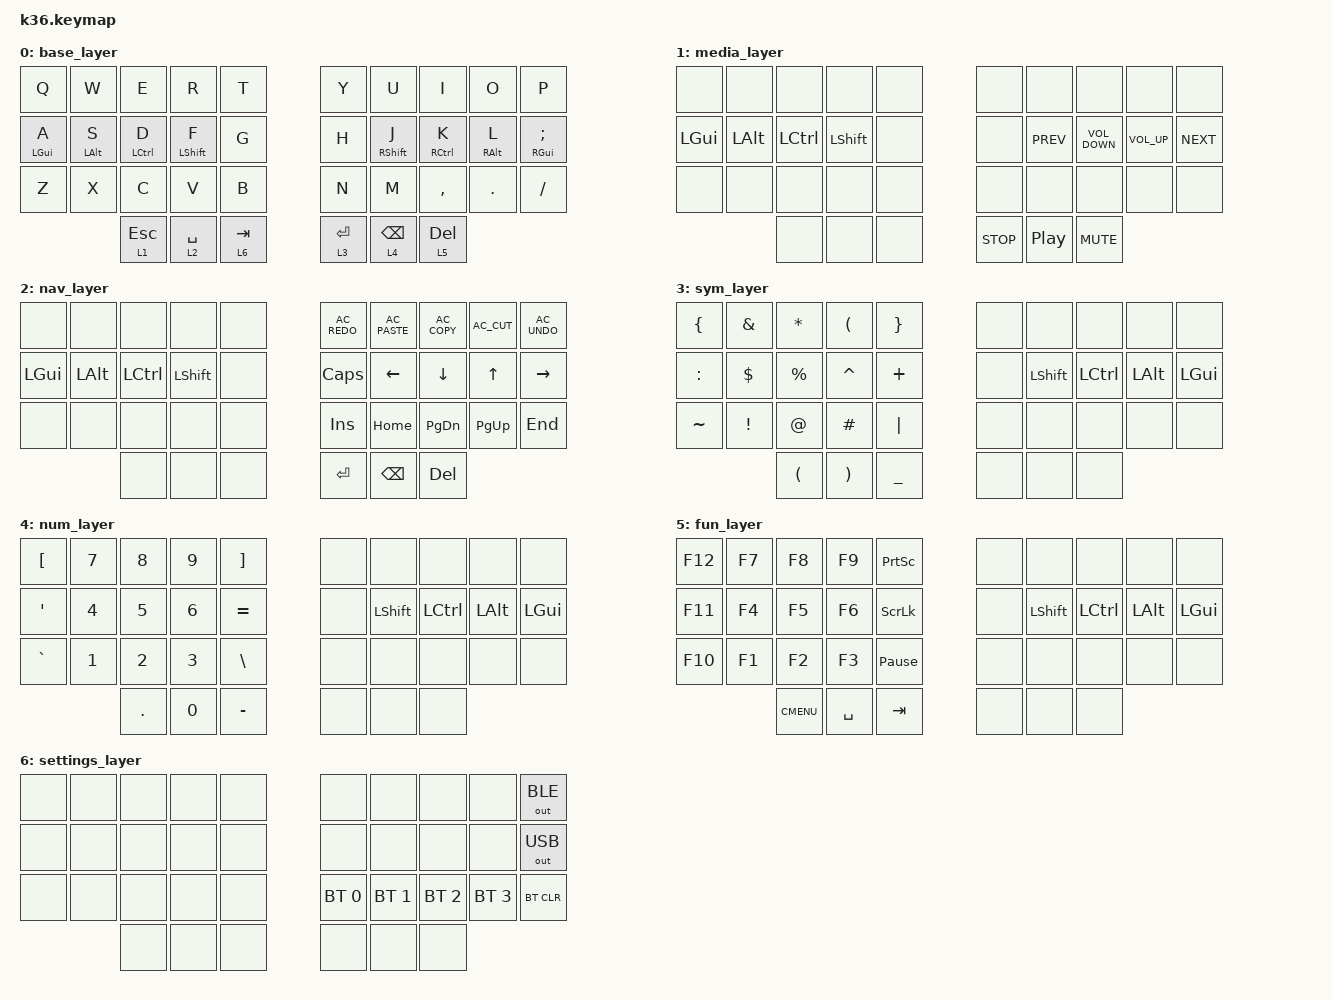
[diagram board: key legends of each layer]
#include <behaviors.dtsi>
#include <dt-bindings/zmk/bt.h>
#include <dt-bindings/zmk/keys.h>
#include <dt-bindings/zmk/outputs.h>

#include "keypos_36keys.h"         

#define DEFAULT 0
#define MEDIA 1
#define NAV 2
#define MOUSE 3
#define SYM 4
#define NUM 5
#define FUN 6

// key-position labels
#define KEYS_L LT0 LT1 LT2 LT3 LT4 LM0 LM1 LM2 LM3 LM4 LB0 LB1 LB2 LB3 LB4  // left-hand keys
#define KEYS_R RT0 RT1 RT2 RT3 RT4 RM0 RM1 RM2 RM3 RM4 RB0 RB1 RB2 RB3 RB4  // right-hand keys
#define THUMBS LH2 LH1 LH0 RH0 RH1 RH2                                      // thumb keys

/ {
    behaviors {
        hml: homerow_mods_left {
            compatible = "zmk,behavior-hold-tap";
            flavor = "balanced"; 
            tapping-term-ms = <280>;
            quick-tap-ms = <175>;
						require-prior-idle-ms = <150>;
            bindings = <&kp>, <&kp>;
            #binding-cells = <2>;
						hold-trigger-key-positions = <KEYS_R THUMBS>;
    				hold-trigger-on-release;             // delay positional check until key-release
        };
				hmr: homerow_mods_right {
            compatible = "zmk,behavior-hold-tap";
            flavor = "balanced"; 
            tapping-term-ms = <280>;
            quick-tap-ms = <175>;
						require-prior-idle-ms = <150>;
            bindings = <&kp>, <&kp>;
            #binding-cells = <2>;
						hold-trigger-key-positions = <KEYS_L THUMBS>;
    				hold-trigger-on-release;      
        };
    };

    keymap {
        compatible = "zmk,keymap";

        base_layer {
            bindings = <
  &kp Q       &kp W       &kp E        &kp R        &kp T          &kp Y      &kp U        &kp I        &kp O       &kp P
  &hml LGUI A  &hml LALT S  &hml LCTRL D  &hml LSHFT F  &kp G          &kp H      &hmr RSHFT J  &hmr RCTRL K  &hmr RALT L  &hmr RGUI SEMI
  &kp Z       &kp X       &kp C        &kp V        &kp B          &kp N      &kp M        &kp COMMA    &kp DOT     &kp FSLH
                          &lt 1 ESC    &lt 2 SPACE  &lt 6 TAB      &lt 3 RET  &lt 4 BSPC   &lt 5 DEL
            >;
        };

        media_layer {
            bindings = <
  &none     &none     &none      &none       &none      &none       &none       &none              &none            &none
  &kp LGUI  &kp LALT  &kp LCTRL  &kp LSHIFT  &none      &none       &kp C_PREV  &kp C_VOLUME_DOWN  &kp C_VOLUME_UP  &kp C_NEXT
  &none     &none     &none      &none       &none      &none       &none       &none              &none            &none
                      &none      &none       &none      &kp C_STOP  &kp C_PP    &kp C_MUTE
            >;
        };

        nav_layer {
            bindings = <
  &none     &none     &none      &none       &none      &kp C_AC_REDO  &kp C_AC_PASTE  &kp C_AC_COPY  &kp C_AC_CUT  &kp C_AC_UNDO
  &kp LGUI  &kp LALT  &kp LCTRL  &kp LSHIFT  &none      &kp CAPSLOCK   &kp LEFT        &kp DOWN       &kp UP        &kp RIGHT
  &none     &none     &none      &none       &none      &kp INSERT     &kp HOME        &kp PG_DN      &kp PG_UP     &kp END
                      &none      &none       &none      &kp RET        &kp BSPC        &kp DEL
            >;
        };

        /* This needs to be implemented when mouse keys hits ZMK's main branch */

        sym_layer {
            bindings = <
  &kp LBRC   &kp AMPS  &kp STAR   &kp LPAR   &kp RBRC       &none  &none       &none      &none     &none
  &kp COLON  &kp DLLR  &kp PRCNT  &kp CARET  &kp PLUS       &none  &kp LSHIFT  &kp LCTRL  &kp LALT  &kp LGUI
  &kp TILDE  &kp EXCL  &kp AT     &kp POUND  &kp PIPE       &none  &none       &none      &none     &none
                       &kp LPAR   &kp RPAR   &kp UNDER      &none  &none       &none
            >;
        };

        num_layer {
            bindings = <
  &kp LBKT   &kp N7  &kp N8   &kp N9  &kp RBKT       &none  &none       &none      &none     &none
  &kp SQT    &kp N4  &kp N5   &kp N6  &kp EQUAL      &none  &kp LSHIFT  &kp LCTRL  &kp LALT  &kp LGUI
  &kp GRAVE  &kp N1  &kp N2   &kp N3  &kp BSLH       &none  &none       &none      &none     &none
                     &kp DOT  &kp N0  &kp MINUS      &none  &none       &none
            >;
        };

        fun_layer {
            bindings = <
  &kp F12  &kp F7  &kp F8       &kp F9     &kp PSCRN            &none  &none       &none      &none     &none
  &kp F11  &kp F4  &kp F5       &kp F6     &kp SLCK             &none  &kp LSHIFT  &kp LCTRL  &kp LALT  &kp LGUI
  &kp F10  &kp F1  &kp F2       &kp F3     &kp PAUSE_BREAK      &none  &none       &none      &none     &none
                   &kp K_CMENU  &kp SPACE  &kp TAB              &none  &none       &none
            >;
        };

        settings_layer {
            bindings = <
  &none  &none  &none  &none  &none      &none         &none         &none        &none        &out OUT_BLE
  &none  &none  &none  &none  &none      &none        &none        &none        &none        &out OUT_USB
  &none  &none  &none  &none  &none      &bt BT_SEL 0  &bt BT_SEL 1  &bt BT_SEL 2  &bt BT_SEL 3  &bt BT_CLR
                  &none  &none  &none      &none        &none        &none
            >;
        };
    };
};
